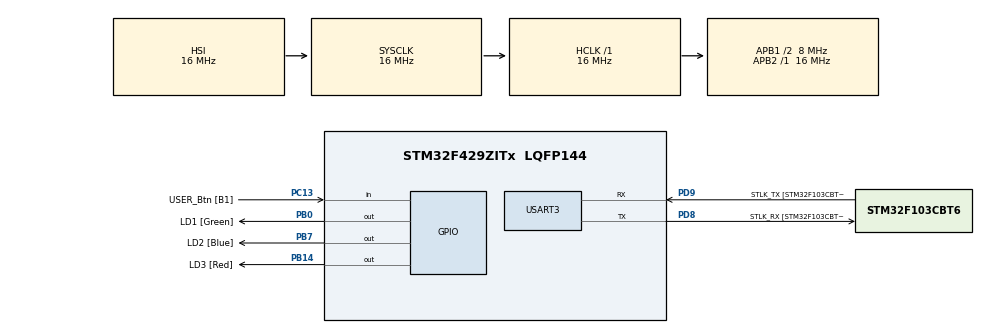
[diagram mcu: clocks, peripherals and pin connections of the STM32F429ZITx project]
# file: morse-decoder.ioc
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Mcu.Family=STM32F4
Mcu.Name=STM32F429ZITx
Mcu.Package=LQFP144
NVIC.PriorityGroup=NVIC_PRIORITYGROUP_4
PA1.GPIO_Label=RMII_REF_CLK [LAN8742A-CZ-TR_REFCLK0]
PA1.Signal=ETH_REF_CLK
PA10.GPIO_Label=USB_ID
PA10.Signal=USB_OTG_FS_ID
PA11.GPIO_Label=USB_DM
PA11.Signal=USB_OTG_FS_DM
PA12.GPIO_Label=USB_DP
PA12.Signal=USB_OTG_FS_DP
PA13.GPIO_Label=TMS
PA13.Signal=SYS_JTMS-SWDIO
PA14.GPIO_Label=TCK
PA14.Signal=SYS_JTCK-SWCLK
PA2.GPIO_Label=RMII_MDIO [LAN8742A-CZ-TR_MDIO]
PA2.Signal=ETH_MDIO
PA7.GPIO_Label=RMII_CRS_DV [LAN8742A-CZ-TR_CRS_DV]
PA7.Signal=ETH_CRS_DV
PA8.GPIO_Label=USB_SOF [TP1]
PA8.Signal=USB_OTG_FS_SOF
PA9.GPIO_Label=USB_VBUS
PA9.Signal=USB_OTG_FS_VBUS
PB0.GPIO_Label=LD1 [Green]
PB0.Signal=GPIO_Output
PB13.GPIO_Label=RMII_TXD1 [LAN8742A-CZ-TR_TXD1]
PB13.Signal=ETH_TXD1
PB14.GPIO_Label=LD3 [Red]
PB14.Signal=GPIO_Output
PB7.GPIO_Label=LD2 [Blue]
PB7.Signal=GPIO_Output
PC1.GPIO_Label=RMII_MDC [LAN8742A-CZ-TR_MDC]
PC1.Signal=ETH_MDC
PC13.GPIO_Label=USER_Btn [B1]
PC13.Signal=GPIO_Input
PC14/OSC32_IN.Signal=RCC_OSC32_IN
PC15/OSC32_OUT.Signal=RCC_OSC32_OUT
PC4.GPIO_Label=RMII_RXD0 [LAN8742A-CZ-TR_RXD0]
PC4.Signal=ETH_RXD0
PC5.GPIO_Label=RMII_RXD1 [LAN8742A-CZ-TR_RXD1]
PC5.Signal=ETH_RXD1
PD8.GPIO_Label=STLK_RX [STM32F103CBT6_PA3]
PD8.Mode=Asynchronous
PD8.Signal=USART3_TX
PD9.GPIO_Label=STLK_TX [STM32F103CBT6_PA2]
PD9.Mode=Asynchronous
PD9.Signal=USART3_RX
PG11.GPIO_Label=RMII_TX_EN [LAN8742A-CZ-TR_TXEN]
PG11.Signal=ETH_TX_EN
PG13.GPIO_Label=RMII_TXD0 [LAN8742A-CZ-TR_TXD0]
PG13.Signal=ETH_TXD0
PH0/OSC_IN.GPIO_Label=MCO [STM32F103CBT6_PA8]
PH0/OSC_IN.Signal=RCC_OSC_IN
PH1/OSC_OUT.Signal=RCC_OSC_OUT
ProjectManager.HeapSize=0x200
ProjectManager.StackSize=0x400
ProjectManager.TargetToolchain=STM32CubeIDE
RCC.48MHZClocksFreq_Value=48000000
RCC.AHBFreq_Value=16000000
RCC.APB1CLKDivider=RCC_HCLK_DIV2
RCC.APB1Freq_Value=8000000
RCC.APB1TimFreq_Value=16000000
RCC.APB2Freq_Value=16000000
RCC.APB2TimFreq_Value=16000000
RCC.CortexFreq_Value=16000000
RCC.HCLKFreq_Value=16000000
RCC.HSE_VALUE=8000000
RCC.HSI_VALUE=16000000
RCC.LSE_VALUE=32768
RCC.PLLMUL=RCC_PLL_MUL9
RCC.PRESCALERUSB=RCC_USBCLKSOURCE_PLL_DIV1_5
RCC.SYSCLKFreq_VALUE=16000000
RCC.SYSCLKSourceVirtual=RCC_SYSCLKSOURCE_PLLCLK
RCC.USBFreq_Value=48000000
RCC.VCOOutputFreq_Value=192000000
USART3.VirtualMode=VM_ASYNC
board=NUCLEO-F429ZI

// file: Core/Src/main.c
/* USER CODE BEGIN Header */
/**
 ******************************************************************************
 * @file           : main.c
 * @brief          : Main program body
 ******************************************************************************
 * @attention
 *
 * Copyright (c) 2026 STMicroelectronics.
 * All rights reserved.
 *
 * This software is licensed under terms that can be found in the LICENSE file
 * in the root directory of this software component.
 * If no LICENSE file comes with this software, it is provided AS-IS.
 *
 ******************************************************************************
 */
/* USER CODE END Header */
#include "main.h"

/* USER CODE BEGIN Includes */
#include <stdio.h>
#include <string.h>

/* USER CODE END Includes */

UART_HandleTypeDef huart3;

void SystemClock_Config(void);
static void MX_GPIO_Init(void);
static void MX_USART3_UART_Init(void);

int main(void) {

	/* USER CODE BEGIN 1 */

	uint8_t current_press = 0;
	uint8_t last_press = 0;
	uint32_t start = 0;
	uint32_t press_time = 0;
	uint32_t last_symbol_time = 0;

	uint8_t buf[32];

	/* USER CODE END 1 */

	/* MCU Configuration--------------------------------------------------------*/

	/* Reset of all peripherals, Initializes the Flash interface and the Systick. */
	HAL_Init();

	/* Configure the system clock */
	SystemClock_Config();

	/* Initialize all configured peripherals */
	MX_GPIO_Init();
	MX_USART3_UART_Init();

	/* Infinite loop */
	while (1) {

		/* USER CODE BEGIN 3 */
		current_press = HAL_GPIO_ReadPin(USER_Btn_GPIO_Port, USER_Btn_Pin);

		HAL_Delay(50);

		if (current_press == 1 && last_press == 0) {
			start = HAL_GetTick();

			HAL_GPIO_WritePin(LD1_GPIO_Port, LD1_Pin, 0);
			HAL_GPIO_WritePin(LD2_GPIO_Port, LD2_Pin, 0);
			HAL_GPIO_WritePin(LD3_GPIO_Port, LD3_Pin, 0);

		} else if (current_press == 0 && last_press == 1) {
			press_time = HAL_GetTick() - start;

			last_symbol_time = HAL_GetTick();

			if (press_time > 0 && press_time < 300) {
				sprintf((char*) buf, ".\r\n");
				HAL_GPIO_WritePin(LD1_GPIO_Port, LD1_Pin, 1);
				HAL_UART_Transmit(&huart3, buf, strlen((char*) buf), 100);
			} else if (press_time < 1000) {
				sprintf((char*) buf, "-\r\n");
				HAL_GPIO_WritePin(LD2_GPIO_Port, LD2_Pin, 1);
				HAL_UART_Transmit(&huart3, buf, strlen((char*) buf), 100);
			} else {
				sprintf((char*) buf, "E\r\n");
				HAL_UART_Transmit(&huart3, buf, strlen((char*) buf), 100);
				HAL_GPIO_WritePin(LD3_GPIO_Port, LD3_Pin, 1);
			}

		}

		if (HAL_GetTick() - last_symbol_time > 2000 && last_symbol_time > 0) {
			sprintf((char*) buf, "/\r\n");
			HAL_UART_Transmit(&huart3, buf, strlen((char*) buf), 100);
			last_symbol_time = 0;
		}

		last_press = current_press;

	}
	/* USER CODE END 3 */
}

void SystemClock_Config(void) {
	RCC_OscInitTypeDef RCC_OscInitStruct = { 0 };
	RCC_ClkInitTypeDef RCC_ClkInitStruct = { 0 };

	/** Configure the main internal regulator output voltage
	 */
	__HAL_RCC_PWR_CLK_ENABLE();
	__HAL_PWR_VOLTAGESCALING_CONFIG(PWR_REGULATOR_VOLTAGE_SCALE3);

	/** Initializes the RCC Oscillators according to the specified parameters
	 * in the RCC_OscInitTypeDef structure.
	 */
	RCC_OscInitStruct.OscillatorType = RCC_OSCILLATORTYPE_HSI;
	RCC_OscInitStruct.HSIState = RCC_HSI_ON;
	RCC_OscInitStruct.HSICalibrationValue = RCC_HSICALIBRATION_DEFAULT;
	RCC_OscInitStruct.PLL.PLLState = RCC_PLL_NONE;
	if (HAL_RCC_OscConfig(&RCC_OscInitStruct) != HAL_OK) {
		Error_Handler();
	}

	/** Initializes the CPU, AHB and APB buses clocks
	 */
	RCC_ClkInitStruct.ClockType = RCC_CLOCKTYPE_HCLK | RCC_CLOCKTYPE_SYSCLK
			| RCC_CLOCKTYPE_PCLK1 | RCC_CLOCKTYPE_PCLK2;
	RCC_ClkInitStruct.SYSCLKSource = RCC_SYSCLKSOURCE_HSI;
	RCC_ClkInitStruct.AHBCLKDivider = RCC_SYSCLK_DIV1;
	RCC_ClkInitStruct.APB1CLKDivider = RCC_HCLK_DIV2;
	RCC_ClkInitStruct.APB2CLKDivider = RCC_HCLK_DIV1;

	if (HAL_RCC_ClockConfig(&RCC_ClkInitStruct, FLASH_LATENCY_0) != HAL_OK) {
		Error_Handler();
	}
}

static void MX_USART3_UART_Init(void) {

	huart3.Instance = USART3;
	huart3.Init.BaudRate = 115200;
	huart3.Init.WordLength = UART_WORDLENGTH_8B;
	huart3.Init.StopBits = UART_STOPBITS_1;
	huart3.Init.Parity = UART_PARITY_NONE;
	huart3.Init.Mode = UART_MODE_TX_RX;
	huart3.Init.HwFlowCtl = UART_HWCONTROL_NONE;
	huart3.Init.OverSampling = UART_OVERSAMPLING_16;
	if (HAL_UART_Init(&huart3) != HAL_OK) {
		Error_Handler();
	}

}

static void MX_GPIO_Init(void) {
	GPIO_InitTypeDef GPIO_InitStruct = { 0 };

	/* GPIO Ports Clock Enable */
	__HAL_RCC_GPIOC_CLK_ENABLE();
	__HAL_RCC_GPIOH_CLK_ENABLE();
	__HAL_RCC_GPIOA_CLK_ENABLE();
	__HAL_RCC_GPIOB_CLK_ENABLE();
	__HAL_RCC_GPIOD_CLK_ENABLE();
	__HAL_RCC_GPIOG_CLK_ENABLE();

	/*Configure GPIO pin Output Level */
	HAL_GPIO_WritePin(GPIOB, LD1_Pin | LD3_Pin | LD2_Pin, GPIO_PIN_RESET);

	/*Configure GPIO pin : USER_Btn_Pin */
	GPIO_InitStruct.Pin = USER_Btn_Pin;
	GPIO_InitStruct.Mode = GPIO_MODE_INPUT;
	GPIO_InitStruct.Pull = GPIO_NOPULL;
	HAL_GPIO_Init(USER_Btn_GPIO_Port, &GPIO_InitStruct);

	/*Configure GPIO pins : RMII_MDC_Pin RMII_RXD0_Pin RMII_RXD1_Pin */
	GPIO_InitStruct.Pin = RMII_MDC_Pin | RMII_RXD0_Pin | RMII_RXD1_Pin;
	GPIO_InitStruct.Mode = GPIO_MODE_AF_PP;
	GPIO_InitStruct.Pull = GPIO_NOPULL;
	GPIO_InitStruct.Speed = GPIO_SPEED_FREQ_VERY_HIGH;
	GPIO_InitStruct.Alternate = GPIO_AF11_ETH;
	HAL_GPIO_Init(GPIOC, &GPIO_InitStruct);

	/*Configure GPIO pins : RMII_REF_CLK_Pin RMII_MDIO_Pin RMII_CRS_DV_Pin */
	GPIO_InitStruct.Pin = RMII_REF_CLK_Pin | RMII_MDIO_Pin | RMII_CRS_DV_Pin;
	GPIO_InitStruct.Mode = GPIO_MODE_AF_PP;
	GPIO_InitStruct.Pull = GPIO_NOPULL;
	GPIO_InitStruct.Speed = GPIO_SPEED_FREQ_VERY_HIGH;
	GPIO_InitStruct.Alternate = GPIO_AF11_ETH;
	HAL_GPIO_Init(GPIOA, &GPIO_InitStruct);

	/*Configure GPIO pins : LD1_Pin LD3_Pin LD2_Pin */
	GPIO_InitStruct.Pin = LD1_Pin | LD3_Pin | LD2_Pin;
	GPIO_InitStruct.Mode = GPIO_MODE_OUTPUT_PP;
	GPIO_InitStruct.Pull = GPIO_NOPULL;
	GPIO_InitStruct.Speed = GPIO_SPEED_FREQ_LOW;
	HAL_GPIO_Init(GPIOB, &GPIO_InitStruct);

	/*Configure GPIO pin : RMII_TXD1_Pin */
	GPIO_InitStruct.Pin = RMII_TXD1_Pin;
	GPIO_InitStruct.Mode = GPIO_MODE_AF_PP;
	GPIO_InitStruct.Pull = GPIO_NOPULL;
	GPIO_InitStruct.Speed = GPIO_SPEED_FREQ_VERY_HIGH;
	GPIO_InitStruct.Alternate = GPIO_AF11_ETH;
	HAL_GPIO_Init(RMII_TXD1_GPIO_Port, &GPIO_InitStruct);

	/*Configure GPIO pins : USB_SOF_Pin USB_ID_Pin USB_DM_Pin USB_DP_Pin */
	GPIO_InitStruct.Pin = USB_SOF_Pin | USB_ID_Pin | USB_DM_Pin | USB_DP_Pin;
	GPIO_InitStruct.Mode = GPIO_MODE_AF_PP;
	GPIO_InitStruct.Pull = GPIO_NOPULL;
	GPIO_InitStruct.Speed = GPIO_SPEED_FREQ_VERY_HIGH;
	GPIO_InitStruct.Alternate = GPIO_AF10_OTG_FS;
	HAL_GPIO_Init(GPIOA, &GPIO_InitStruct);

	/*Configure GPIO pin : USB_VBUS_Pin */
	GPIO_InitStruct.Pin = USB_VBUS_Pin;
	GPIO_InitStruct.Mode = GPIO_MODE_INPUT;
	GPIO_InitStruct.Pull = GPIO_NOPULL;
	HAL_GPIO_Init(USB_VBUS_GPIO_Port, &GPIO_InitStruct);

	/*Configure GPIO pins : RMII_TX_EN_Pin RMII_TXD0_Pin */
	GPIO_InitStruct.Pin = RMII_TX_EN_Pin | RMII_TXD0_Pin;
	GPIO_InitStruct.Mode = GPIO_MODE_AF_PP;
	GPIO_InitStruct.Pull = GPIO_NOPULL;
	GPIO_InitStruct.Speed = GPIO_SPEED_FREQ_VERY_HIGH;
	GPIO_InitStruct.Alternate = GPIO_AF11_ETH;
	HAL_GPIO_Init(GPIOG, &GPIO_InitStruct);

}

void Error_Handler(void) {
	__disable_irq();
	while (1) {
	}
}
